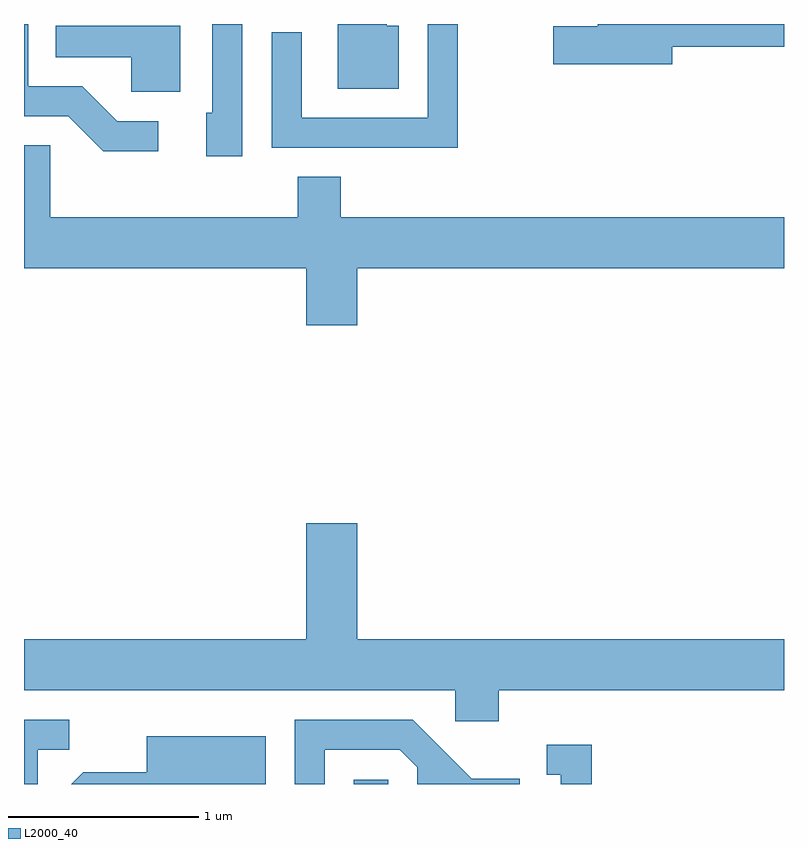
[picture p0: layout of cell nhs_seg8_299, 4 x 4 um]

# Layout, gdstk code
import gdstk
lib = gdstk.Library(unit=1e-6, precision=1e-09)
def R(c, l, rs):  # rectangles x0, y0, x1, y1
    for r in rs: c.add(gdstk.rectangle(r[:2], r[2:], *l))
def P(c, l, *ps):  # polygons
    for p in ps: c.add(gdstk.Polygon(p, *l))
L2000_40 = (2000, 40)

nhs_seg8_299 = lib.new_cell('nhs_seg8_299')
R(nhs_seg8_299, L2000_40, [(195.346,1860.342,195.529,1860.364)])
P(nhs_seg8_299, L2000_40, [(197.024,1864.221),(197.611,1864.221),(197.611,1864.342),(196.631,1864.342),(196.631,1864.329),(196.396,1864.329),(196.396,1864.131),(197.024,1864.131)],
  [(195.894,1864.342),(195.736,1864.342),(195.736,1863.849),(195.074,1863.849),(195.074,1864.298),(194.916,1864.298),(194.916,1863.691),(195.894,1863.691)],
  [(194.759,1864.342),(194.601,1864.342),(194.601,1863.874),(194.571,1863.874),(194.571,1863.646),(194.759,1863.646)],
  [(195.584,1864.334),(195.519,1864.334),(195.519,1864.342),(195.261,1864.342),(195.261,1864.001),(195.584,1864.001)],
  [(194.318,1863.829),(194.102,1863.829),(193.917,1864.014),(193.634,1864.014),(193.634,1864.342),(193.611,1864.342),(193.611,1863.856),(193.844,1863.856),(194.029,1863.671),(194.318,1863.671)],
  [(194.434,1864.334),(193.778,1864.334),(193.778,1864.166),(194.176,1864.166),(194.176,1863.986),(194.434,1863.986)],
  [(195.364,1863.056),(197.611,1863.056),(197.611,1863.324),(195.279,1863.324),(195.279,1863.539),(195.051,1863.539),(195.051,1863.324),(193.749,1863.324),(193.749,1863.704),(193.611,1863.704),(193.611,1863.056),(195.096,1863.056),(195.096,1862.756),(195.364,1862.756)],
  [(196.109,1860.836),(197.611,1860.836),(197.611,1861.104),(195.364,1861.104),(195.364,1861.714),(195.096,1861.714),(195.096,1861.104),(193.611,1861.104),(193.611,1860.836),(195.881,1860.836),(195.881,1860.671),(196.109,1860.671)],
  [(195.194,1860.521),(195.589,1860.521),(195.681,1860.429),(195.681,1860.342),(196.219,1860.342),(196.219,1860.369),(195.967,1860.369),(195.657,1860.679),(195.036,1860.679),(195.036,1860.342),(195.194,1860.342)],
  [(193.684,1860.521),(193.848,1860.521),(193.848,1860.679),(193.611,1860.679),(193.611,1860.342),(193.684,1860.342)],
  [(194.884,1860.594),(194.256,1860.594),(194.256,1860.404),(193.922,1860.404),(193.859,1860.342),(194.884,1860.342)],
  [(196.599,1860.549),(196.363,1860.549),(196.363,1860.391),(196.436,1860.391),(196.436,1860.342),(196.599,1860.342)])

lib.write_gds('nhs_seg8_299.gds')
